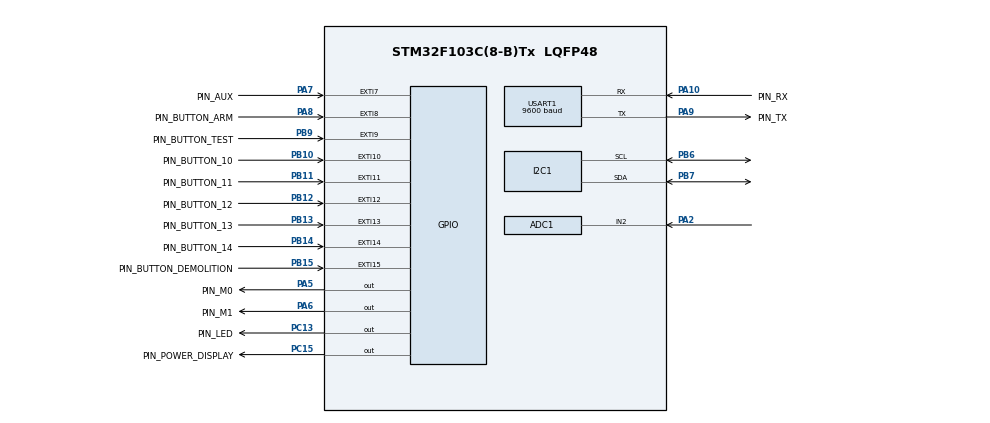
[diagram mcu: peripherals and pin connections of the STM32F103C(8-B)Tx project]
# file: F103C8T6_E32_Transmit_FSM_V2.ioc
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ADC1.Channel-0\#ChannelRegularConversion=ADC_CHANNEL_2
ADC1.NbrOfConversionFlag=1
ADC1.Rank-0\#ChannelRegularConversion=1
ADC1.SamplingTime-0\#ChannelRegularConversion=ADC_SAMPLETIME_239CYCLES_5
ADC1.master=1
Dma.ADC1.2.Direction=DMA_PERIPH_TO_MEMORY
Dma.ADC1.2.Instance=DMA1_Channel1
Dma.ADC1.2.MemDataAlignment=DMA_MDATAALIGN_HALFWORD
Dma.ADC1.2.MemInc=DMA_MINC_ENABLE
Dma.ADC1.2.Mode=DMA_NORMAL
Dma.ADC1.2.PeriphDataAlignment=DMA_PDATAALIGN_HALFWORD
Dma.ADC1.2.PeriphInc=DMA_PINC_DISABLE
Dma.ADC1.2.Priority=DMA_PRIORITY_LOW
Dma.Request0=USART1_RX
Dma.Request1=USART1_TX
Dma.Request2=ADC1
Dma.USART1_RX.0.Direction=DMA_PERIPH_TO_MEMORY
Dma.USART1_RX.0.Instance=DMA1_Channel5
Dma.USART1_RX.0.MemDataAlignment=DMA_MDATAALIGN_BYTE
Dma.USART1_RX.0.MemInc=DMA_MINC_ENABLE
Dma.USART1_RX.0.Mode=DMA_NORMAL
Dma.USART1_RX.0.PeriphDataAlignment=DMA_PDATAALIGN_BYTE
Dma.USART1_RX.0.PeriphInc=DMA_PINC_DISABLE
Dma.USART1_RX.0.Priority=DMA_PRIORITY_LOW
Dma.USART1_TX.1.Direction=DMA_MEMORY_TO_PERIPH
Dma.USART1_TX.1.Instance=DMA1_Channel4
Dma.USART1_TX.1.MemDataAlignment=DMA_MDATAALIGN_BYTE
Dma.USART1_TX.1.MemInc=DMA_MINC_ENABLE
Dma.USART1_TX.1.Mode=DMA_NORMAL
Dma.USART1_TX.1.PeriphDataAlignment=DMA_PDATAALIGN_BYTE
Dma.USART1_TX.1.PeriphInc=DMA_PINC_DISABLE
Dma.USART1_TX.1.Priority=DMA_PRIORITY_LOW
I2C1.I2C_Mode=I2C_Fast
Mcu.Family=STM32F1
Mcu.Name=STM32F103C(8-B)Tx
Mcu.Package=LQFP48
NVIC.DMA1_Channel1_IRQn=true\:0\:0\:false\:false\:true\:false\:true\:true
NVIC.DMA1_Channel4_IRQn=true\:0\:0\:false\:false\:true\:false\:true\:true
NVIC.DMA1_Channel5_IRQn=true\:0\:0\:false\:false\:true\:false\:true\:true
NVIC.EXTI15_10_IRQn=true\:0\:0\:false\:false\:true\:true\:true\:true
NVIC.EXTI9_5_IRQn=true\:0\:0\:false\:false\:true\:true\:true\:true
NVIC.PriorityGroup=NVIC_PRIORITYGROUP_4
NVIC.TIM1_UP_IRQn=true\:0\:0\:false\:false\:true\:true\:true\:true
NVIC.TIM2_IRQn=true\:0\:0\:false\:false\:true\:true\:true\:true
NVIC.USART1_IRQn=true\:0\:0\:false\:false\:true\:true\:true\:true
PA10.GPIO_Label=PIN_RX
PA10.Mode=Asynchronous
PA10.Signal=USART1_RX
PA13.Mode=Trace_Asynchronous_SW
PA13.Signal=SYS_JTMS-SWDIO
PA14.Mode=Trace_Asynchronous_SW
PA14.Signal=SYS_JTCK-SWCLK
PA2.Signal=ADCx_IN2
PA5.GPIO_Label=PIN_M0
PA5.Signal=GPIO_Output
PA6.GPIO_Label=PIN_M1
PA6.Signal=GPIO_Output
PA7.GPIO_Label=PIN_AUX
PA7.Signal=GPXTI7
PA8.GPIO_Label=PIN_BUTTON_ARM
PA8.GPIO_ModeDefaultEXTI=GPIO_MODE_IT_RISING_FALLING
PA8.GPIO_PuPd=GPIO_PULLUP
PA8.Signal=GPXTI8
PA9.GPIO_Label=PIN_TX
PA9.Mode=Asynchronous
PA9.Signal=USART1_TX
PB10.GPIO_Label=PIN_BUTTON_10
PB10.GPIO_ModeDefaultEXTI=GPIO_MODE_IT_RISING_FALLING
PB10.GPIO_PuPd=GPIO_PULLUP
PB10.Signal=GPXTI10
PB11.GPIO_Label=PIN_BUTTON_11
PB11.GPIO_ModeDefaultEXTI=GPIO_MODE_IT_RISING_FALLING
PB11.GPIO_PuPd=GPIO_PULLUP
PB11.Signal=GPXTI11
PB12.GPIO_Label=PIN_BUTTON_12
PB12.GPIO_ModeDefaultEXTI=GPIO_MODE_IT_RISING_FALLING
PB12.GPIO_PuPd=GPIO_PULLUP
PB12.Signal=GPXTI12
PB13.GPIO_Label=PIN_BUTTON_13
PB13.GPIO_ModeDefaultEXTI=GPIO_MODE_IT_RISING_FALLING
PB13.GPIO_PuPd=GPIO_PULLUP
PB13.Signal=GPXTI13
PB14.GPIO_Label=PIN_BUTTON_14
PB14.GPIO_ModeDefaultEXTI=GPIO_MODE_IT_RISING_FALLING
PB14.GPIO_PuPd=GPIO_PULLUP
PB14.Signal=GPXTI14
PB15.GPIO_Label=PIN_BUTTON_DEMOLITION
PB15.GPIO_ModeDefaultEXTI=GPIO_MODE_IT_FALLING
PB15.GPIO_PuPd=GPIO_PULLUP
PB15.Signal=GPXTI15
PB3.Mode=Trace_Asynchronous_SW
PB3.Signal=SYS_JTDO-TRACESWO
PB6.Mode=I2C
PB6.Signal=I2C1_SCL
PB7.Mode=I2C
PB7.Signal=I2C1_SDA
PB9.GPIO_Label=PIN_BUTTON_TEST
PB9.GPIO_ModeDefaultEXTI=GPIO_MODE_IT_FALLING
PB9.GPIO_PuPd=GPIO_PULLUP
PB9.Signal=GPXTI9
PC13-TAMPER-RTC.GPIO_Label=PIN_LED
PC13-TAMPER-RTC.Signal=GPIO_Output
PC15-OSC32_OUT.GPIO_Label=PIN_POWER_DISPLAY
PC15-OSC32_OUT.PinState=GPIO_PIN_RESET
PC15-OSC32_OUT.Signal=GPIO_Output
ProjectManager.HeapSize=0x200
ProjectManager.StackSize=0x400
ProjectManager.TargetToolchain=STM32CubeIDE
RCC.APB1Freq_Value=8000000
RCC.APB2Freq_Value=8000000
SH.ADCx_IN2.0=ADC1_IN2,IN2
TIM1.Period=15000
TIM1.Prescaler=15000
TIM2.Period=1000
TIM2.Prescaler=8000
USART1.BaudRate=9600
USART1.VirtualMode=VM_ASYNC
VP_TIM1_VS_ClockSourceINT.Mode=Internal
VP_TIM2_VS_ClockSourceINT.Mode=Internal
board=custom

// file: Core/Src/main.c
/* USER CODE BEGIN Header */
/**
  ******************************************************************************
  * @file           : main.c
  * @brief          : Main program body
  ******************************************************************************
  * @attention
  *
  * Copyright (c) 2023 STMicroelectronics.
  * All rights reserved.
  *
  * This software is licensed under terms that can be found in the LICENSE file
  * in the root directory of this software component.
  * If no LICENSE file comes with this software, it is provided AS-IS.
  *
  ******************************************************************************
  */
/* USER CODE END Header */
#include "main.h"

/* USER CODE BEGIN Includes */
#include <stdio.h>
#include "FLASH_PAGE_F1.h"
#include "string.h"
#include "fsm.h"
#include "ssd1306.h"
/* USER CODE END Includes */
/* USER CODE BEGIN PTD */
uint8_t rxByteSize;

/* USER CODE END PTD */

ADC_HandleTypeDef hadc1;
DMA_HandleTypeDef hdma_adc1;

I2C_HandleTypeDef hi2c1;

TIM_HandleTypeDef htim1;
TIM_HandleTypeDef htim2;

UART_HandleTypeDef huart1;
DMA_HandleTypeDef hdma_usart1_rx;
DMA_HandleTypeDef hdma_usart1_tx;

/* USER CODE BEGIN PV */
// Переменные типа uint8_t
uint8_t rxByteSize; // Размер буфера приема (не инициализирован)
uint8_t rxByteSize = RX_BUF_SIZE0; // Размер буфера приема (инициализирован)
uint8_t receiveBuffer[RX_BUF_SIZE1]; // Буфер приема данных

uint8_t txByteDemolition[] = BYTE_PULT_RESIV_DEMOLITION; // Байты для передачи сигнала "demolition"
const uint8_t txByteTest[] = BYTE_PULT_RESIV_TEST; // Байты для передачи сигнала "test"
const uint8_t txByteSetup0[] = {0xC0, 0xFF, 0xFF, 0x18, 0x17, 0x44}; // Байты настройки 0
const uint8_t txByteSetup1[] = {0xC1, 0xC1, 0xC1}; // Байты настройки 1
const uint8_t rxByteLog[] = BYTE_PULT_RESIV_LOG; // Байты для приема лога
const uint8_t rxByteTest[] = BYTE_PULT_RESIV_TEST; // Байты для приема сигнала "test"

uint8_t flagInterrupt = RESET; // Флаг прерывания
uint8_t flagButtonDemolition = RESET; // Флаг кнопки "demolition"
uint8_t flagButtonTest = RESET; // Флаг кнопки "test"
uint8_t flagButtonDemolitionUpdateDisplay = RESET; // Флаг обновления дисплея при нажатии "demolition"
uint8_t countButtonDemolitionClock; // Счетчик времени при нажатии "demolition"
uint8_t flagButtonTestUpdateDisplay = RESET; // Флаг обновления дисплея при нажатии "test"
uint8_t countButtonTestClock; // Счетчик времени при нажатии "test"
uint8_t flagPeriodic1 = RESET; // Флаг периодического события 1
uint8_t flagPeriodic2 = RESET; // Флаг периодического события 2

// Переменные типа uint16_t
uint16_t adcData[ADC_CHANNELS_NUM]; // Массив данных от АЦП

// Переменные типа перечисления
Tx txStatus = txNoTx; // Состояние передачи

// Переменные указателя на функцию void
void (*outDispl)(void); // Указатель на функцию обновления дисплея

/* USER CODE END PV */

void SystemClock_Config(void);
static void MX_GPIO_Init(void);
static void MX_DMA_Init(void);
static void MX_USART1_UART_Init(void);
static void MX_I2C1_Init(void);
static void MX_ADC1_Init(void);
static void MX_TIM1_Init(void);
static void MX_TIM2_Init(void);
/* USER CODE BEGIN PFP */
void (*outDispl)(void);

char* intToChar(uint8_t int_, uint8_t n);
/* USER CODE END PFP */

/* USER CODE BEGIN 0 */

// Массив структур, представляющих точки переходов конечного автомата
tag_point FSM[NUMBER_STATE]={
		{2, 0, startFsm, readInterrupt, waitShort, {STATE_ERROR_FOREWER, STATE_BUTTON_CHOESE_DETONATOR, STATE_RX_MESSAGE, STATE_TX_MESSAGE, STATE_BUTTON_TEST, STATE_BUTTON_DEMOLITION, STATE_BUTTON_MENU, STATE_WAIT_FOREVER, STATE_WAIT_MENU, STATE_WAIT_TX, STATE_START, STATE_WAIT}},// STATE_START
		{0, 3, outError, ForewerHandlerError, waitShort, {STATE_START, STATE_ERROR_FOREWER, STATE_ERROR_FOREWER, STATE_ERROR_FOREWER, STATE_ERROR_FOREWER, STATE_ERROR_FOREWER, STATE_ERROR_FOREWER, STATE_ERROR_FOREWER, STATE_ERROR_FOREWER, STATE_ERROR_FOREWER, STATE_ERROR_FOREWER, STATE_ERROR_FOREWER}},// STATE_ERROR_FOREWER
		{3, 0, outDisplay, readInterrupt, waitLong, {STATE_ERROR_FOREWER, STATE_BUTTON_CHOESE_DETONATOR, STATE_RX_MESSAGE, STATE_TX_MESSAGE, STATE_BUTTON_TEST, STATE_BUTTON_DEMOLITION, STATE_BUTTON_MENU, STATE_WAIT_FOREVER, STATE_WAIT_MENU, STATE_WAIT_TX, STATE_START, STATE_WAIT}},// STATE_WAIT
		{0, 0, outBufferDisplay, readInterrupt, waitShort, {STATE_ERROR_FOREWER, STATE_WAIT, STATE_WAIT, STATE_WAIT, STATE_WAIT, STATE_WAIT, STATE_WAIT, STATE_WAIT, STATE_WAIT, STATE_WAIT, STATE_WAIT_FOREVER, STATE_WAIT}},// STATE_BUTTON CHOESE_DETONATOR
		{0, 0, outBufferDisplay, readInterrupt, waitShort, {STATE_ERROR_FOREWER, STATE_WAIT_MENU, STATE_WAIT_MENU, STATE_WAIT_MENU, STATE_WAIT_MENU, STATE_WAIT_MENU, STATE_WAIT_MENU, STATE_WAIT_MENU, STATE_WAIT_MENU, STATE_WAIT_MENU, STATE_WAIT_MENU, STATE_WAIT_MENU}},// STATE_BUTTON_MENU
		{2, 0, outRxMessage, handlerRxMessage, waitShort, {STATE_ERROR_FOREWER, STATE_WAIT, STATE_RX_MESSAGE, STATE_WAIT, STATE_WAIT, STATE_WAIT, STATE_WAIT, STATE_WAIT, STATE_WAIT, STATE_WAIT_TX, STATE_WAIT_FOREVER, STATE_WAIT}},// STATE_RX_MESSAGE
		{0, 0, outTxMessage, readInterrupt, waitShort, {STATE_ERROR_FOREWER, STATE_WAIT,  STATE_WAIT, STATE_WAIT, STATE_WAIT, STATE_WAIT, STATE_WAIT, STATE_WAIT_TX, STATE_WAIT_TX, STATE_WAIT_TX, STATE_WAIT_FOREVER, STATE_WAIT}},// STATE_TX_MESSAGE
		{3, 0, outBlank, readInterrupt, waitForever, {STATE_ERROR_FOREWER, STATE_BUTTON_CHOESE_DETONATOR, STATE_RX_MESSAGE, STATE_TX_MESSAGE, STATE_BUTTON_TEST, STATE_BUTTON_DEMOLITION, STATE_BUTTON_MENU, STATE_WAIT_FOREVER, STATE_WAIT_MENU, STATE_WAIT_TX, STATE_START, STATE_WAIT}},// STATE_WAIT_FOREVER
		{1, 0, outDisplay, readInterrupt, waitLongMenu, {STATE_ERROR_FOREWER, STATE_TX_MESSAGE, STATE_WAIT_FOREVER, STATE_WAIT_MENU, STATE_START, STATE_WAIT, STATE_WAIT, STATE_WAIT, STATE_WAIT, STATE_WAIT, STATE_WAIT, STATE_WAIT}},// STATE_WAIT_MENU
		{0, 0, outBufferDisplay, readInterrupt, waitShort, {STATE_ERROR_FOREWER, STATE_WAIT, STATE_WAIT_FOREVER, STATE_WAIT_MENU, STATE_TX_MESSAGE, STATE_TX_MESSAGE, STATE_TX_MESSAGE, STATE_TX_MESSAGE, STATE_TX_MESSAGE, STATE_TX_MESSAGE, STATE_TX_MESSAGE, STATE_TX_MESSAGE}},// STATE_BUTTON_TEST
		{0, 0, outBufferDisplay, readInterrupt, waitShort, {STATE_ERROR_FOREWER, STATE_WAIT, STATE_WAIT_FOREVER, STATE_WAIT_MENU, STATE_TX_MESSAGE, STATE_TX_MESSAGE, STATE_TX_MESSAGE, STATE_TX_MESSAGE, STATE_TX_MESSAGE, STATE_TX_MESSAGE, STATE_TX_MESSAGE, STATE_TX_MESSAGE}},// STATE_BUTTON_DEMOLITION
		{2, 0, outDisplay, readInterrupt, waitLongTx, {STATE_ERROR_FOREWER, STATE_BUTTON_CHOESE_DETONATOR, STATE_RX_MESSAGE, STATE_TX_MESSAGE, STATE_BUTTON_TEST, STATE_BUTTON_DEMOLITION, STATE_BUTTON_MENU, STATE_WAIT_FOREVER, STATE_WAIT_MENU, STATE_WAIT_TX, STATE_START, STATE_WAIT}}// STATE_WAIT_TX
};
// Текущее состояние конечного автомата
uint32_t currentState = STATE_START;
// Входные данные
uint32_t input;

/* USER CODE END 0 */

int main(void)
{

  /* MCU Configuration--------------------------------------------------------*/

  /* Reset of all peripherals, Initializes the Flash interface and the Systick. */
  HAL_Init();

  /* Configure the system clock */
  SystemClock_Config();

  /* Initialize all configured peripherals */
  MX_GPIO_Init();
  MX_DMA_Init();
  MX_USART1_UART_Init();
  MX_I2C1_Init();
  MX_ADC1_Init();
  MX_TIM1_Init();
  MX_TIM2_Init();

  /* Infinite loop */
  /* USER CODE BEGIN WHILE */
  while (1)
  {

	  FSM[currentState].out(); //Вызов функции out() для текущего состояния конечного автомата
	  setInterruptBeginState(FSM[currentState].interruptBeginState); //Установка начального состояния для прерывания
	  FSM[currentState].time(); //Вызов функции time() для управления временем ожидания
	  setInterruptEndState(FSM[currentState].interruptEndState); //Установка конечного состояния для прерывания
	  input = FSM[currentState].in(); //Получение входных данных с помощью функции in()
	  currentState = FSM[currentState].next[input]; //переход в следующее состояние
    /* USER CODE END WHILE */

  }
}

void SystemClock_Config(void)
{
  RCC_OscInitTypeDef RCC_OscInitStruct = {0};
  RCC_ClkInitTypeDef RCC_ClkInitStruct = {0};
  RCC_PeriphCLKInitTypeDef PeriphClkInit = {0};

  /** Initializes the RCC Oscillators according to the specified parameters
  * in the RCC_OscInitTypeDef structure.
  */
  RCC_OscInitStruct.OscillatorType = RCC_OSCILLATORTYPE_HSI;
  RCC_OscInitStruct.HSIState = RCC_HSI_ON;
  RCC_OscInitStruct.HSICalibrationValue = RCC_HSICALIBRATION_DEFAULT;
  RCC_OscInitStruct.PLL.PLLState = RCC_PLL_NONE;
  if (HAL_RCC_OscConfig(&RCC_OscInitStruct) != HAL_OK)
  {
    Error_Handler();
  }

  /** Initializes the CPU, AHB and APB buses clocks
  */
  RCC_ClkInitStruct.ClockType = RCC_CLOCKTYPE_HCLK|RCC_CLOCKTYPE_SYSCLK
                              |RCC_CLOCKTYPE_PCLK1|RCC_CLOCKTYPE_PCLK2;
  RCC_ClkInitStruct.SYSCLKSource = RCC_SYSCLKSOURCE_HSI;
  RCC_ClkInitStruct.AHBCLKDivider = RCC_SYSCLK_DIV1;
  RCC_ClkInitStruct.APB1CLKDivider = RCC_HCLK_DIV1;
  RCC_ClkInitStruct.APB2CLKDivider = RCC_HCLK_DIV1;

  if (HAL_RCC_ClockConfig(&RCC_ClkInitStruct, FLASH_LATENCY_0) != HAL_OK)
  {
    Error_Handler();
  }
  PeriphClkInit.PeriphClockSelection = RCC_PERIPHCLK_ADC;
  PeriphClkInit.AdcClockSelection = RCC_ADCPCLK2_DIV2;
  if (HAL_RCCEx_PeriphCLKConfig(&PeriphClkInit) != HAL_OK)
  {
    Error_Handler();
  }
}

static void MX_ADC1_Init(void)
{

  ADC_ChannelConfTypeDef sConfig = {0};

  /** Common config
  */
  hadc1.Instance = ADC1;
  hadc1.Init.ScanConvMode = ADC_SCAN_DISABLE;
  hadc1.Init.ContinuousConvMode = DISABLE;
  hadc1.Init.DiscontinuousConvMode = DISABLE;
  hadc1.Init.ExternalTrigConv = ADC_SOFTWARE_START;
  hadc1.Init.DataAlign = ADC_DATAALIGN_RIGHT;
  hadc1.Init.NbrOfConversion = 1;
  if (HAL_ADC_Init(&hadc1) != HAL_OK)
  {
    Error_Handler();
  }

  /** Configure Regular Channel
  */
  sConfig.Channel = ADC_CHANNEL_2;
  sConfig.Rank = ADC_REGULAR_RANK_1;
  sConfig.SamplingTime = ADC_SAMPLETIME_239CYCLES_5;
  if (HAL_ADC_ConfigChannel(&hadc1, &sConfig) != HAL_OK)
  {
    Error_Handler();
  }

}

static void MX_I2C1_Init(void)
{

  hi2c1.Instance = I2C1;
  hi2c1.Init.ClockSpeed = 400000;
  hi2c1.Init.DutyCycle = I2C_DUTYCYCLE_2;
  hi2c1.Init.OwnAddress1 = 0;
  hi2c1.Init.AddressingMode = I2C_ADDRESSINGMODE_7BIT;
  hi2c1.Init.DualAddressMode = I2C_DUALADDRESS_DISABLE;
  hi2c1.Init.OwnAddress2 = 0;
  hi2c1.Init.GeneralCallMode = I2C_GENERALCALL_DISABLE;
  hi2c1.Init.NoStretchMode = I2C_NOSTRETCH_DISABLE;
  if (HAL_I2C_Init(&hi2c1) != HAL_OK)
  {
    Error_Handler();
  }

}

static void MX_TIM1_Init(void)
{

  TIM_ClockConfigTypeDef sClockSourceConfig = {0};
  TIM_MasterConfigTypeDef sMasterConfig = {0};

  htim1.Instance = TIM1;
  htim1.Init.Prescaler = 15000;
  htim1.Init.CounterMode = TIM_COUNTERMODE_UP;
  htim1.Init.Period = 15000;
  htim1.Init.ClockDivision = TIM_CLOCKDIVISION_DIV1;
  htim1.Init.RepetitionCounter = 0;
  htim1.Init.AutoReloadPreload = TIM_AUTORELOAD_PRELOAD_DISABLE;
  if (HAL_TIM_Base_Init(&htim1) != HAL_OK)
  {
    Error_Handler();
  }
  sClockSourceConfig.ClockSource = TIM_CLOCKSOURCE_INTERNAL;
  if (HAL_TIM_ConfigClockSource(&htim1, &sClockSourceConfig) != HAL_OK)
  {
    Error_Handler();
  }
  sMasterConfig.MasterOutputTrigger = TIM_TRGO_RESET;
  sMasterConfig.MasterSlaveMode = TIM_MASTERSLAVEMODE_DISABLE;
  if (HAL_TIMEx_MasterConfigSynchronization(&htim1, &sMasterConfig) != HAL_OK)
  {
    Error_Handler();
  }

}

static void MX_TIM2_Init(void)
{

  TIM_ClockConfigTypeDef sClockSourceConfig = {0};
  TIM_MasterConfigTypeDef sMasterConfig = {0};

  htim2.Instance = TIM2;
  htim2.Init.Prescaler = 8000;
  htim2.Init.CounterMode = TIM_COUNTERMODE_UP;
  htim2.Init.Period = 1000;
  htim2.Init.ClockDivision = TIM_CLOCKDIVISION_DIV1;
  htim2.Init.AutoReloadPreload = TIM_AUTORELOAD_PRELOAD_DISABLE;
  if (HAL_TIM_Base_Init(&htim2) != HAL_OK)
  {
    Error_Handler();
  }
  sClockSourceConfig.ClockSource = TIM_CLOCKSOURCE_INTERNAL;
  if (HAL_TIM_ConfigClockSource(&htim2, &sClockSourceConfig) != HAL_OK)
  {
    Error_Handler();
  }
  sMasterConfig.MasterOutputTrigger = TIM_TRGO_RESET;
  sMasterConfig.MasterSlaveMode = TIM_MASTERSLAVEMODE_DISABLE;
  if (HAL_TIMEx_MasterConfigSynchronization(&htim2, &sMasterConfig) != HAL_OK)
  {
    Error_Handler();
  }

}

static void MX_USART1_UART_Init(void)
{

  huart1.Instance = USART1;
  huart1.Init.BaudRate = 9600;
  huart1.Init.WordLength = UART_WORDLENGTH_8B;
  huart1.Init.StopBits = UART_STOPBITS_1;
  huart1.Init.Parity = UART_PARITY_NONE;
  huart1.Init.Mode = UART_MODE_TX_RX;
  huart1.Init.HwFlowCtl = UART_HWCONTROL_NONE;
  huart1.Init.OverSampling = UART_OVERSAMPLING_16;
  if (HAL_UART_Init(&huart1) != HAL_OK)
  {
    Error_Handler();
  }

}

static void MX_DMA_Init(void)
{

  /* DMA controller clock enable */
  __HAL_RCC_DMA1_CLK_ENABLE();

  /* DMA interrupt init */
  /* DMA1_Channel1_IRQn interrupt configuration */
  HAL_NVIC_SetPriority(DMA1_Channel1_IRQn, 0, 0);
  HAL_NVIC_EnableIRQ(DMA1_Channel1_IRQn);
  /* DMA1_Channel4_IRQn interrupt configuration */
  HAL_NVIC_SetPriority(DMA1_Channel4_IRQn, 0, 0);
  HAL_NVIC_EnableIRQ(DMA1_Channel4_IRQn);
  /* DMA1_Channel5_IRQn interrupt configuration */
  HAL_NVIC_SetPriority(DMA1_Channel5_IRQn, 0, 0);
  HAL_NVIC_EnableIRQ(DMA1_Channel5_IRQn);

}

static void MX_GPIO_Init(void)
{
  GPIO_InitTypeDef GPIO_InitStruct = {0};

  /* GPIO Ports Clock Enable */
  __HAL_RCC_GPIOC_CLK_ENABLE();
  __HAL_RCC_GPIOA_CLK_ENABLE();
  __HAL_RCC_GPIOB_CLK_ENABLE();

  /*Configure GPIO pin Output Level */
  HAL_GPIO_WritePin(GPIOC, PIN_LED_Pin|PIN_POWER_DISPLAY_Pin, GPIO_PIN_RESET);

  /*Configure GPIO pin Output Level */
  HAL_GPIO_WritePin(GPIOA, PIN_M0_Pin|PIN_M1_Pin, GPIO_PIN_RESET);

  /*Configure GPIO pins : PIN_LED_Pin PIN_POWER_DISPLAY_Pin */
  GPIO_InitStruct.Pin = PIN_LED_Pin|PIN_POWER_DISPLAY_Pin;
  GPIO_InitStruct.Mode = GPIO_MODE_OUTPUT_PP;
  GPIO_InitStruct.Pull = GPIO_NOPULL;
  GPIO_InitStruct.Speed = GPIO_SPEED_FREQ_LOW;
  HAL_GPIO_Init(GPIOC, &GPIO_InitStruct);

  /*Configure GPIO pins : PIN_M0_Pin PIN_M1_Pin */
  GPIO_InitStruct.Pin = PIN_M0_Pin|PIN_M1_Pin;
  GPIO_InitStruct.Mode = GPIO_MODE_OUTPUT_PP;
  GPIO_InitStruct.Pull = GPIO_NOPULL;
  GPIO_InitStruct.Speed = GPIO_SPEED_FREQ_LOW;
  HAL_GPIO_Init(GPIOA, &GPIO_InitStruct);

  /*Configure GPIO pin : PIN_AUX_Pin */
  GPIO_InitStruct.Pin = PIN_AUX_Pin;
  GPIO_InitStruct.Mode = GPIO_MODE_IT_RISING;
  GPIO_InitStruct.Pull = GPIO_NOPULL;
  HAL_GPIO_Init(PIN_AUX_GPIO_Port, &GPIO_InitStruct);

  /*Configure GPIO pins : PIN_BUTTON_10_Pin PIN_BUTTON_11_Pin PIN_BUTTON_12_Pin PIN_BUTTON_13_Pin
                           PIN_BUTTON_14_Pin */
  GPIO_InitStruct.Pin = PIN_BUTTON_10_Pin|PIN_BUTTON_11_Pin|PIN_BUTTON_12_Pin|PIN_BUTTON_13_Pin
                          |PIN_BUTTON_14_Pin;
  GPIO_InitStruct.Mode = GPIO_MODE_IT_RISING_FALLING;
  GPIO_InitStruct.Pull = GPIO_PULLUP;
  HAL_GPIO_Init(GPIOB, &GPIO_InitStruct);

  /*Configure GPIO pins : PIN_BUTTON_DEMOLITION_Pin PIN_BUTTON_TEST_Pin */
  GPIO_InitStruct.Pin = PIN_BUTTON_DEMOLITION_Pin|PIN_BUTTON_TEST_Pin;
  GPIO_InitStruct.Mode = GPIO_MODE_IT_FALLING;
  GPIO_InitStruct.Pull = GPIO_PULLUP;
  HAL_GPIO_Init(GPIOB, &GPIO_InitStruct);

  /*Configure GPIO pin : PIN_BUTTON_ARM_Pin */
  GPIO_InitStruct.Pin = PIN_BUTTON_ARM_Pin;
  GPIO_InitStruct.Mode = GPIO_MODE_IT_RISING_FALLING;
  GPIO_InitStruct.Pull = GPIO_PULLUP;
  HAL_GPIO_Init(PIN_BUTTON_ARM_GPIO_Port, &GPIO_InitStruct);

  /* EXTI interrupt init*/
  HAL_NVIC_SetPriority(EXTI9_5_IRQn, 0, 0);
  HAL_NVIC_EnableIRQ(EXTI9_5_IRQn);

  HAL_NVIC_SetPriority(EXTI15_10_IRQn, 0, 0);
  HAL_NVIC_EnableIRQ(EXTI15_10_IRQn);

}

/* USER CODE BEGIN 4 */
//=========================================================================================================================================//
//=================================================startFsm=================================================================//
//=========================================================================================================================================//

void startFsm(void) {
#ifdef Debug
    printf("stnvartstart: \n"); // Вывод отладочной информации в режиме отладки
#endif
    setInterruptState(UsaNoExtern); // Установка состояния прерывания
    HAL_GPIO_WritePin(PIN_LED_GPIO_Port, PIN_LED_Pin, GPIO_PIN_RESET); // Сброс состояния пина LED
    if(e32PinSetup(sleepMode)) // Инициализация E32 в режиме сна
        handlerError(e32FunctionInit); // Обработка ошибки инициализации E32 в режиме сна
    HAL_Delay(1000); // Задержка 1000 миллисекунд
    HAL_UART_Transmit_DMA(&huart1, &txByteSetup0, sizeof(txByteSetup0)); // Отправка установочных байтов по UART в режиме DMA (Direct Memory Access)
    HAL_Delay(500); // Задержка 500 миллисекунд
    HAL_UART_Transmit_DMA(&huart1, &txByteSetup1, sizeof(txByteSetup1)); // Отправка проверки исправности e32 по UART в режиме DMA
    HAL_UARTEx_ReceiveToIdle_DMA(&huart1, receiveBuffer, rxByteSize); // Перевод UART в режим приема с использованием DMA

    if(checkRxStartMessage(txByteSetup0, rxByteSize)) // Проверка корректности работы е32
        handlerError(startE32Error); // Обработка ошибки стартового сообщения E32
    rxByteSize = sizeof(txByteDemolition); // Установка нового размера буфера приема для E32
    HAL_GPIO_WritePin(PIN_POWER_DISPLAY_GPIO_Port, PIN_POWER_DISPLAY_Pin, SET); // Установка состояния пина питания дисплея
    HAL_Delay(1000); // Задержка 1000 миллисекунд
    SSD1306_Init(); // Инициализация дисплея SSD1306
    if (HAL_I2C_IsDeviceReady(&hi2c1, SSD1306_I2C_ADDR, 1, 20000) != HAL_OK) { // Проверка доступности дисплея по I2C
        /* Return false */
        handlerError(startDisplayError); // Обработка ошибки инициализации дисплея
        return 0;
    }
    outDispl = outDisplayUser; // Установка функции вывода на дисплей
    outBufferDisplay(); // Обработка буфера дисплея
    e32PinSetup(powerSavingMode); // Инициализация пинов E32 в режим энергосбережения
    setInterruptState(UsaExtern); // Установка состояния прерывания
    nextState = wait; // следующее состояние автомата

    HAL_Delay(1); // Задержка 1 миллисекунда
}

//============================================================================================================================//
//================================================outTxMessage================================================================//
//============================================================================================================================//

/**
 * @brief Обрабатывает передачу сообщений в модуль передатчика.
 *
 * Эта функция управляет передачей сообщений в модуль передатчика.
 * Она настраивает модуль E32 для передачи и отправляет соответствующее сообщение.
 * Функция также обновляет дисплей и обрабатывает ошибки.
 */
void outTxMessage(void) {
    //HAL_Delay(NUMBER_NOD * 2000);
#ifdef Debug
    printf(" outTxMessage.\n"); // Отладочный вывод
#endif
    switch (txStatus) {
    case txNoTx: // Ошибка логики программы
#ifdef Debug
        printf("ERROR logic outTxMessage.\n"); // Отладочный вывод
#endif
        handlerError(txLogicError); // Обработчик ошибок
        break;
    case txTest: // Было прерывание кнопки тест
        if (flagButtonTest == RESET) {
#ifdef Debug
            printf("ERROR outTxMessage.\n"); // Ошибка вызова функции
#endif
            handlerError(txIntruptError); // Обработчик ошибок
        }
        e32PinSetup(wakeUpMode); // Настройка модуля E32 в режим пробуждения приемников
        HAL_Delay(10);
        HAL_UART_Transmit_DMA(&huart1, &txByteTest, sizeof(txByteTest)); // Отправка тестового сообщения
        HAL_Delay(100);
        bufferDisplay.timeTxWake = (TIME_TX_DEMOLITION_WEAKE) + ((TIME_TX_TEST_1_WEAKE) * (NUMBER_EXPLODER)); // Установка времени ожидания для дисплея режима тест
        txStatus = txNoTx; // Сброс статуса передачи
        break;
    case txDemolition: // Было прерывание кнопки демолитион
        if (flagButtonDemolition == RESET) {
#ifdef Debug
            printf("ERROR outTxMessage.\n"); // Отладочный вывод
#endif
            handlerError(txIntruptError); // Обработчик ошибок
        }

        if (bufferDisplay.bfArm == 0) { // Если не нажата кнопка АРМ - выход из функции
            return;
        }

        e32PinSetup(wakeUpMode); // Настройка модуля E32 в режим пробуждения приемников
        HAL_Delay(10);
        txByteDemolition[ADRES_NUMBER_BYTE_DEMOLITION_ON_EXPLODER] = 0; // Сбрасываем байты адресов выбранных приемников.
        for (uint8_t i = 0; i < NUMBER_EXPLODER; i++) {
            int8_t x = 1;
            if (bufferDisplay.bfDetonator[i] == 1) {
                x = x << (i + 1); // Битовыми сдвигами формируем байт из адресов приемников
                txByteDemolition[ADRES_NUMBER_BYTE_DEMOLITION_ON_EXPLODER] = txByteDemolition[ADRES_NUMBER_BYTE_DEMOLITION_ON_EXPLODER] | x; // Формирование байта, указывающего на подключенные взрыватели
            }
        }
        HAL_UART_Transmit_DMA(&huart1, &txByteDemolition, sizeof(txByteDemolition)); // Отправка сообщения о взрыве
        HAL_Delay(100);
        bufferDisplay.timeTxWake = TIME_TX_DEMOLITION_WEAKE; // Установка времени ожидания для дисплея режима взрыва
        txStatus = txNoTx; // Сброс статуса передачи
        break;
    default: // Ошибка логики программы
        handlerError(txLogicError); // Обработчик ошибок
#ifdef Debug
        printf("ERROR outTxMessage.\n"); // Отладочный вывод
#endif
        break;
    }

    outDispl = outDisplayWakeTx; // Установка указателя на функцию для работы дисплея в режиме ожидания
    nextState = waitTx; // Следующее состояние конечного автомата
    HAL_Delay(1);
}

//=============================================================================================================================//
//=====================================================outDisplay==============================================================//
//=============================================================================================================================//
//В этой инструкции по указателю вызывается нужная функция обновление дисплея.
void outDisplay(void){
	HAL_Delay(1);
	outDispl();
	}
//===============================================================================================================================//
//=================================================readPower()===============================================================//
//===============================================================================================================================//
/**
 * @brief Считывает данные о напряжении питания.
 *
 * Эта функция запускает измерение напряжения питания с помощью АЦП
 * и обрабатывает результаты. В случае обнаружения ошибки в напряжении,
 * функция выводит сообщение об ошибке.
 */
void readPower() {
#ifdef Debug
    printf("readPower().\n"); // Отладочный вывод
#endif
    HAL_ADC_Start_DMA(&hadc1, (uint32_t*)adcData, ADC_CHANNELS_NUM); // Запуск измерения напряжения
    HAL_Delay(50);  // Задержка перед возвратом результата
    if (adcVoltage[0] > 50 || adcVoltage[0] < 10) {
#ifdef Debug
        printf("ErrorReadVolt.\n"); // Отладочный вывод
#endif
        handlerError(readVoltageError);
    }
}
//============================================================================================================================//
//=================================================waitLong====================================================//
//============================================================================================================================//
/**
 * @brief Ожидание с длинной задержкой.
 *
 * Эта функция устанавливает длинную задержку с использованием таймера
 * и переводит микроконтроллер в режим сна. Микроконтроллер просыпается
 * по прерыванием или по истечению таймера
 */
void waitLong(void) {
#ifdef Debug
    printf("waitLong.\n"); // Отладочный вывод
#endif
    HAL_TIM_Base_Start_IT(&htim1); // Запуск таймера для задержки
    HAL_SuspendTick(); // Остановка системного таймера
    HAL_PWR_EnterSLEEPMode(PWR_LOWPOWERREGULATOR_ON, PWR_SLEEPENTRY_WFI); // Перевод в режим сна
    HAL_ResumeTick(); // Возобновление системного таймера после выхода из сна
    HAL_TIM_Base_Stop_IT(&htim1); // Остановка таймера
    HAL_Delay(1); // Задержка для стабилизации
}
//============================================================================================================================//
//================================================readInterrupt===============================================================//
//============================================================================================================================//
//Функция читает прерывания и возвращает следующую стадию конечного автомата
uint32_t readInterrupt(void){

	HAL_Delay(1);
	return nextState;
}
//============================================================================================================================//
//================================================waitForever====================================================//
//============================================================================================================================//
/**
 * @brief Ожидание вечное.
 *
 * Эта функция устанавливает микроконтроллер в вечный режим ожидания.
 * В это состояние входит выключение дисплея, остановка системного таймера
 * и перевод в режим Stop Mode для минимизации энергопотребления.
 * При прерываниях микроконтроллер возвращается из сна.
 */
void waitForever(void) {
#ifdef Debug
    printf("waitForever.\n"); // Отладочный вывод
#endif
    SSD1306_Clear(); // Очистка дисплея
    //ssd1306_I2C_Write(SSD1306_I2C_ADDR, 0x00, 0xAE); // Выключение дисплея (отладка, разкоментрировать)
    HAL_GPIO_WritePin(PIN_POWER_DISPLAY_GPIO_Port, PIN_POWER_DISPLAY_Pin, RESET);// Выключение дисплея
    HAL_SuspendTick(); // Остановка системного таймера
    HAL_PWR_EnterSTOPMode(PWR_LOWPOWERREGULATOR_ON, PWR_SLEEPENTRY_WFI); // Перевод в режим Stop Mode
    HAL_ResumeTick(); // Возобновление системного таймера
    HAL_GPIO_WritePin(PIN_POWER_DISPLAY_GPIO_Port, PIN_POWER_DISPLAY_Pin, SET); // Включение дисплея
    ssd1306_I2C_Write(SSD1306_I2C_ADDR, 0x00, 0xAF); // Включение дисплея
    SSD1306_Init();
    HAL_Delay(1000); // Задержка для стабилизации (отладачная, поставить меньше)
}
//============================================================================================================================//
//======================================================waitLongTx====================================================//
//============================================================================================================================//
/**
 * @brief Ожидание в режиме передачи.
 *
 * Эта функция реализует ожидание в режиме передачи, учитывая время передачи и ожидания.
 * В зависимости от времени ожидания управляется режим работы модуля E32 и системного таймера.
 * По завершении ожидания микроконтроллер переходит в нормальному режиму работы.
 */
void waitLongTx(void) {

#ifdef Debug
    printf("waitLongTx\n"); // Отладочный вывод
#endif

    if (countButtonDemolitionClock < 6) { // Проверка времени передачи и ожидания, первые 6 секунд, ме должен не спать
        HAL_Delay(1);
        HAL_Delay(1000);
        bufferDisplay.timeTxWake--; // Уменьшение времени ожидания
        countButtonDemolitionClock++;
    } else {
        e32PinSetup(normalMode); // Перевод модуля E32 в нормальный режим
        HAL_TIM_Base_Start_IT(&htim2); // Запуск таймера 2 (на одну секунду)
        HAL_SuspendTick(); // Остановка системного таймера
        HAL_PWR_EnterSLEEPMode(PWR_LOWPOWERREGULATOR_ON, PWR_SLEEPENTRY_WFI); // Вход в режим SLEEP
        HAL_ResumeTick(); // Возобновление системного таймера
#ifdef Debug
        printf("HAL_PWR_EnterSLEEPMode\n"); // Отладочный вывод
#endif
        if (flagPeriodic2 == SET) {
            HAL_TIM_Base_Stop_IT(&htim2); // Остановка таймера
            bufferDisplay.timeTxWake--;
            countButtonDemolitionClock++;
            flagPeriodic2 = RESET;
        }
    }
    if (bufferDisplay.timeTxWake < 1) {
        e32PinSetup(sleepMode); // Перевод модуля E32 в режим сна
        nextState = wait; // Установка следующего состояния
        outDispl = outDisplayUser; // Установка указателя на функцию вывода на дисплей пользователя
    }

}
//============================================================================================================================//
//=================================================handlerRxMessage===========================================================//
//============================================================================================================================//
//Проверяет сообщение, возвращает следующее состояние
uint32_t handlerRxMessage(void){
	return cheсkRxMessage(rxByteTest, rxByteLog, ADRES_NUMBER_BYTE_EXPLODER);

	HAL_Delay(1);
}
//============================================================================================================================//
//=================================================HAL_UART_RxCpltCallback====================================================//
//============================================================================================================================//
/**
 * @brief Обработчик события приема данных по UART.
 *
 * Эта функция вызывается при завершении приема данных по UART.
 * При вызове функции устанавливается флаг прерывания и устанавливается следующее состояние для конечного автомата.
 * Также запускается новый прием данных по DMA.
 *
 * @param huart Указатель на структуру UART_HandleTypeDef, представляющую конфигурацию UART.
 * @param Size Количество принятых байт.
 */
void HAL_UARTEx_RxEventCallback(UART_HandleTypeDef *huart, uint16_t Size) {

#ifdef Debug
    printf("HAL_UARTEx_RxEventCallback.\n"); // Отладочный вывод
#endif

    if (huart->Instance == USART1) { // Проверка, что событие произошло для UART1
        flagInterrupt = SET; // Установка флага прерывания
        nextState = rxMessage; // Установка следующего состояния для конечного автомата
        HAL_UARTEx_ReceiveToIdle_DMA(&huart1, receiveBuffer, rxByteSize); // Запуск нового приема данных по DMA
        __HAL_DMA_DISABLE_IT(&hdma_usart1_rx, DMA_IT_HT); // Отключение прерывания при половине буфера
    }
}

//=============================================================================================================================//
//=================================================HAL_GPIO_EXTI_Callback======================================================//
//=============================================================================================================================//
/**
 * @brief Обработчик прерывания по изменению состояния входов GPIO.
 *
 * Эта функция вызывается при прерывании от входов GPIO, отвечающих за кнопки.
 * В зависимости от нажатой кнопки устанавливает соответствующее состояние и флаги для последующего обработчика.
 * Каждый блок условия относится к конкретной кнопке (взрыватель, демонтаж, тест), и в зависимости от нее устанавливаются определенные параметры.
 */
void HAL_GPIO_EXTI_Callback(uint16_t GPIO_Pin) {
    #ifdef Debug
        printf("HAL_GPIO_EXTI_Callback.\n"); // Отладочный вывод
    #endif
    if (GPIO_Pin == PIN_BUTTON_10_Pin || GPIO_Pin == PIN_BUTTON_11_Pin ||
        GPIO_Pin == PIN_BUTTON_12_Pin || GPIO_Pin == PIN_BUTTON_13_Pin ||
        GPIO_Pin == PIN_BUTTON_14_Pin || GPIO_Pin == PIN_BUTTON_ARM_Pin) {
        nextState = buttonDetonator; // Устанавливаем следующее состояние в режим кнопки выбора взрывателя
        flagInterrupt = SET; // Устанавливаем флаг прерывания
    } else if (GPIO_Pin == PIN_BUTTON_DEMOLITION_Pin) {
        nextState = buttonDemolition; // Устанавливаем следующее состояние в режим кнопки Демонтаж
        flagInterrupt = SET; // Устанавливаем флаг прерывания
        flagButtonDemolition = SET; // Устанавливаем флаг кнопки Демонтаж
        flagButtonDemolitionUpdateDisplay = SET; // Устанавливаем флаг обновления дисплея для кнопки Демонтаж
        countButtonDemolitionClock = 0; // Сбрасываем счетчик времени кнопки Демонтаж
        txStatus = txDemolition; // Устанавливаем статус передачи в режим Демонтаж
    } else if (GPIO_Pin == PIN_BUTTON_TEST_Pin) {
        nextState = buttonTest; // Устанавливаем следующее состояние в режим кнопки Тест
        flagInterrupt = SET; // Устанавливаем флаг прерывания
        flagButtonTest = SET; // Устанавливаем флаг кнопки Тест
        txStatus = txTest; // Устанавливаем статус передачи в режим Тест
        flagButtonTestUpdateDisplay = SET; // Устанавливаем флаг обновления дисплея для кнопки Тест
        countButtonTestClock = 0; // Сбрасываем счетчик времени кнопки Тест
    }

}

//=============================================================================================================================//
//=================================================HAL_ADC_ConvCpltCallback======================================================//
//=============================================================================================================================//
/**
 * @brief Обработчик прерывания по завершению преобразования ADC.
 *
 * Эта функция вызывается по завершению преобразования ADC.
 * При условии, что прерывание было вызвано ADC1, останавливает DMA, присваивает переменной adcVoltage[0] значение,
 * преобразованное из данных ADC.
 *
 * @param hadc Указатель на структуру ADC_HandleTypeDef.
 */
void HAL_ADC_ConvCpltCallback(ADC_HandleTypeDef* hadc) {
    if (hadc->Instance == ADC1) { // Проверяем, вызвано ли прерывание от ADC1
        adcVoltage[0] = adcData[0] / 88; // Преобразуем данные ADC в напряжение и сохраняем в массиве adcVoltage
    }
}

//=============================================================================================================================//
//===========================================HAL_TIM_PeriodElapsedCallback=====================================================//
//=============================================================================================================================//
/**
 * @brief Обработчик прерывания по истечении периода таймера.
 *
 * Эта функция вызывается по истечении периода таймера.
 * В зависимости от таймера, устанавливает соответствующие флаги прерывания и переключает состояние конечного автомата.
 *
 * @param htim Указатель на структуру TIM_HandleTypeDef, представляющую таймер.
 */
void HAL_TIM_PeriodElapsedCallback(TIM_HandleTypeDef *htim) {
    if (htim->Instance == TIM1) { // Проверяем, вызвано ли прерывание от TIM1
        flagInterrupt = SET; // Устанавливаем флаг прерывания
        flagPeriodic1 = SET; // Устанавливаем флаг периодического прерывания 1
         nextState = waitForev; // Указываем следующее состояние конечного автомата
    }
    if (htim->Instance == TIM2) { // Проверяем, вызвано ли прерывание от TIM2
        flagInterrupt = SET; // Устанавливаем флаг прерывания
        flagPeriodic2 = SET; // Устанавливаем флаг периодического прерывания 2
        nextState = waitTx; // Указываем следующее состояние конечного автомата
        if (bufferDisplay.timeTxWake < 1) { // Если время ожидания для передачи истекло
            nextState = wait; // Переключаемся в состояние ожидания
        }
    }
}
//=============================================================================================================================//
//===========================================togleLed()=====================================================//
//=============================================================================================================================//
extern void togleLed() {
    HAL_GPIO_TogglePin(PIN_LED_GPIO_Port, PIN_LED_Pin); // Переключает состояние пина светодиода
}
/* USER CODE END 4 */

void Error_Handler(void)
{
  __disable_irq();
  while (1)
  {
  }
}
